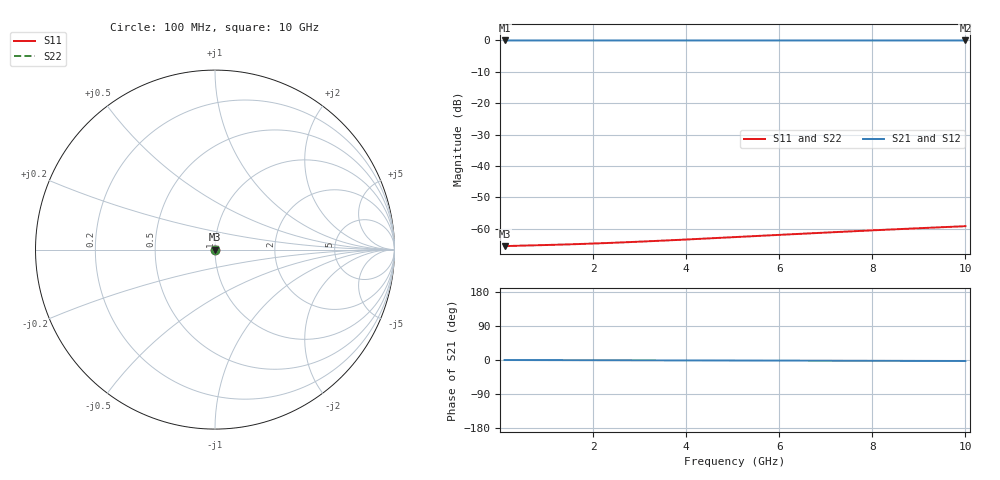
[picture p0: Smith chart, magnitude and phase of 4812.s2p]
# Hz S RI R 50.00
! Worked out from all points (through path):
!   100 points, 100 MHz to 10 GHz, reference 50 ohm
!   highest |S21| = 0.00 dB at 100 MHz (marker M1); lowest = 0.0 dB at 10 GHz (marker M2)
!   lowest |S11| = -65.6 dB at 100 MHz (marker M3), VSWR 1.00, Z = 50.1 + j0.000916 ohm
!   |S11| at or under -10 dB: start of sweep to end of sweep
!   |S22| runs from -65.6 to -59.2 dB; largest |S21 - S12| = 0
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1e8  0.000526 9.15e-06  0.9995 -0.000463  0.9995 -0.000463  0.000526 9.15e-06
2e8  0.000529 1.83e-05  0.9995 -0.000926  0.9995 -0.000926  0.000529 1.83e-05
3e8  0.000531 2.74e-05  0.9995 -0.00139  0.9995 -0.00139  0.000531 2.74e-05
1e9  0.000541 9.14e-05  0.9994 -0.00463  0.9994 -0.00463  0.000541 9.14e-05
1.3e9  0.000544 0.000119  0.9994 -0.00602  0.9994 -0.00602  0.000544 0.000119
1.5e9  0.000546 0.000137  0.9994 -0.00695  0.9994 -0.00695  0.000546 0.000137
1.8e9  0.000548 0.000164  0.9994 -0.00834  0.9994 -0.00834  0.000548 0.000164
2e9  0.000549 0.000183  0.9994 -0.00926  0.9994 -0.00926  0.000549 0.000183
2.2e9  0.000551 0.000201  0.9994 -0.0102  0.9994 -0.0102  0.000551 0.000201
2.6e9  0.000554 0.000237  0.9994 -0.012  0.9994 -0.012  0.000554 0.000237
3e9  0.000557 0.000273  0.9993 -0.0139  0.9993 -0.0139  0.000557 0.000273
3.4e9  0.00056 0.00031  0.9993 -0.0157  0.9993 -0.0157  0.00056 0.00031
3.7e9  0.000562 0.000337  0.9993 -0.0171  0.9993 -0.0171  0.000562 0.000337
4.1e9  0.000565 0.000373  0.9992 -0.019  0.9992 -0.019  0.000565 0.000373
4.5e9  0.000568 0.000409  0.9992 -0.0208  0.9992 -0.0208  0.000568 0.000409
5.1e9  0.000573 0.000463  0.9991 -0.0236  0.9991 -0.0236  0.000573 0.000463
6.1e9  0.000581 0.000553  0.999 -0.0283  0.999 -0.0283  0.000581 0.000553
6.7e9  0.000587 0.000607  0.9989 -0.031  0.9989 -0.031  0.000587 0.000607
7.6e9  0.000596 0.000687  0.9988 -0.0352  0.9988 -0.0352  0.000596 0.000687
8.4e9  0.000604 0.000758  0.9986 -0.0389  0.9986 -0.0389  0.000604 0.000758
9.2e9  0.000613 0.000829  0.9985 -0.0426  0.9985 -0.0426  0.000613 0.000829
1e10  0.000623 0.0009  0.9983 -0.0463  0.9983 -0.0463  0.000623 0.0009
